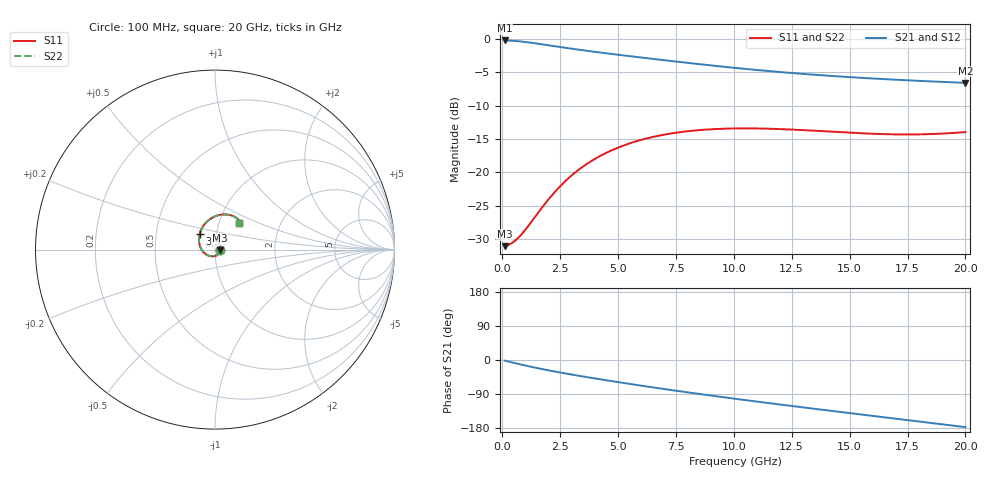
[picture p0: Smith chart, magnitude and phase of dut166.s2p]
! Created with skrf 1.9.0 (http://scikit-rf.org).
# GHz S RI R 50.0
!freq ReS11 ImS11 ReS21 ImS21 ReS12 ImS12 ReS22 ImS22
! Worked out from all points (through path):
!   200 points, 100 MHz to 20 GHz, reference 50 ohm
!   highest |S21| = -0.25 dB at 100 MHz (marker M1); lowest = -6.6 dB at 20 GHz (marker M2)
!   group delay of S21, straight-line fit = 23.4 ps
!   lowest |S11| = -31.1 dB at 100 MHz (marker M3), VSWR 1.06, Z = 52.8 - j0.494 ohm
!   |S11| at or under -10 dB: start of sweep to end of sweep
!   |S22| runs from -31.1 to -13.4 dB; largest |S21 - S12| = 2.2e-15
!   S11 on the Smith chart (normalised r, x): 100 MHz: 1.06, -0.01; 3.9 GHz: 0.83, +0.15; 20 GHz: 1.25, +0.38
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0.1  0.0275 -0.00467  0.9715 -0.0261  0.9715 -0.0261  0.0275 -0.00467
0.4  0.0222 -0.0193  0.9619 -0.1018  0.9619 -0.1018  0.0222 -0.0193
0.7  0.0108 -0.0306  0.9426 -0.1735  0.9426 -0.1735  0.0108 -0.0306
1.2  -0.0163 -0.0378  0.8938 -0.2796  0.8938 -0.2796  -0.0163 -0.0378
1.7  -0.045 -0.0296  0.8329 -0.3671  0.8329 -0.3671  -0.045 -0.0296
2.2  -0.0683 -0.00943  0.7671 -0.4377  0.7671 -0.4377  -0.0683 -0.00943
2.6  -0.0809 0.012  0.7134 -0.4845  0.7134 -0.4845  -0.0809 0.012
3  -0.0878 0.0356  0.6598 -0.5243  0.6598 -0.5243  -0.0878 0.0356
3.5  -0.0892 0.0656  0.5933 -0.5659  0.5933 -0.5659  -0.0892 0.0656
3.9  -0.0853 0.0885  0.5405 -0.5934  0.5405 -0.5934  -0.0853 0.0885
4.5  -0.0729 0.1195  0.4624 -0.6263  0.4624 -0.6263  -0.0729 0.1195
5.2  -0.0516 0.1491  0.3731 -0.6531  0.3731 -0.6531  -0.0516 0.1491
6  -0.0223 0.1734  0.2747 -0.6697  0.2747 -0.6697  -0.0223 0.1734
6.8  0.00856 0.1883  0.1813 -0.6732  0.1813 -0.6732  0.00856 0.1883
8.3  0.0619 0.1958  0.0234 -0.6509  0.0234 -0.6509  0.0619 0.1958
10.1  0.1086 0.1832  -0.133 -0.5893  -0.133 -0.5893  0.1086 0.1832
11.7  0.1325 0.1648  -0.2429 -0.5148  -0.2429 -0.5148  0.1325 0.1648
13.4  0.1431 0.1468  -0.3331 -0.4238  -0.3331 -0.4238  0.1431 0.1468
15  0.1438 0.1358  -0.396 -0.3311  -0.396 -0.3311  0.1438 0.1358
16.7  0.1399 0.1323  -0.4411 -0.2278  -0.4411 -0.2278  0.1399 0.1323
18.3  0.1361 0.1365  -0.4638 -0.1283  -0.4638 -0.1283  0.1361 0.1365
20  0.1356 0.147  -0.4669 -0.023  -0.4669 -0.023  0.1356 0.147
